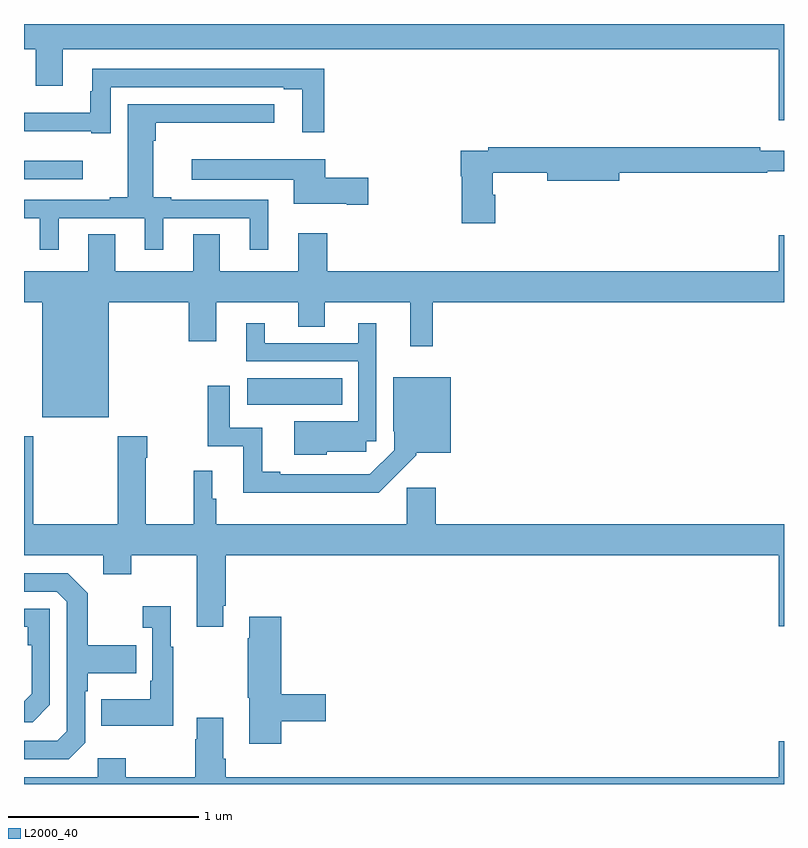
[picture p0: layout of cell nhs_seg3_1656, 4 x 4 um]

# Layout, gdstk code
import gdstk
lib = gdstk.Library(unit=1e-6, precision=1e-09)
def R(c, l, rs):  # rectangles x0, y0, x1, y1
    for r in rs: c.add(gdstk.rectangle(r[:2], r[2:], *l))
def P(c, l, *ps):  # polygons
    for p in ps: c.add(gdstk.Polygon(p, *l))
L2000_40 = (2000, 40)

nhs_seg3_1656 = lib.new_cell('nhs_seg3_1656')
R(nhs_seg3_1656, L2000_40, [(198.174,680.396,198.674,680.536), (197,681.582,197.308,681.679)])
P(nhs_seg3_1656, L2000_40, [(201,682.4),(197,682.4),(197,682.268),(197.063,682.268),(197.063,682.074),(197.203,682.074),(197.203,682.268),(200.972,682.268),(200.972,681.894),(201,681.894)],
  [(197.457,682.068),(198.368,682.068),(198.368,682.056),(198.464,682.056),(198.464,681.831),(198.581,681.831),(198.581,682.164),(197.36,682.164),(197.36,682.046),(197.349,682.046),(197.349,681.934),(197,681.934),(197,681.836),(197.354,681.836),(197.354,681.825),(197.457,681.825)],
  [(197.182,681.378),(197.636,681.378),(197.636,681.213),(197.734,681.213),(197.734,681.378),(198.188,681.378),(198.188,681.213),(198.286,681.213),(198.286,681.474),(197.776,681.474),(197.776,681.487),(197.68,681.487),(197.68,681.785),(197.693,681.785),(197.693,681.881),(198.316,681.881),(198.316,681.978),(197.546,681.978),(197.546,681.487),(197.45,681.487),(197.45,681.474),(197,681.474),(197,681.378),(197.084,681.378),(197.084,681.213),(197.182,681.213)],
  [(199.481,681.501),(199.468,681.501),(199.468,681.616),(199.754,681.616),(199.754,681.574),(200.134,681.574),(200.134,681.616),(200.912,681.616),(200.912,681.624),(201,681.624),(201,681.733),(200.876,681.733),(200.876,681.752),(199.444,681.752),(199.444,681.732),(199.298,681.732),(199.298,681.599),(199.303,681.599),(199.303,681.351),(199.481,681.351)],
  [(198.811,681.59),(198.586,681.59),(198.586,681.688),(197.883,681.688),(197.883,681.581),(198.419,681.581),(198.419,681.455),(198.698,681.455),(198.698,681.448),(198.811,681.448)],
  [(197.446,680.936),(197.866,680.936),(197.866,680.73),(198.013,680.73),(198.013,680.936),(198.443,680.936),(198.443,680.806),(198.583,680.806),(198.583,680.936),(199.034,680.936),(199.034,680.703),(199.151,680.703),(199.151,680.936),(201,680.936),(201,681.289),(200.972,681.289),(200.972,681.1),(198.596,681.1),(198.596,681.298),(198.443,681.298),(198.443,681.1),(198.031,681.1),(198.031,681.293),(197.891,681.293),(197.891,681.1),(197.479,681.1),(197.479,681.293),(197.339,681.293),(197.339,681.1),(197,681.1),(197,680.936),(197.096,680.936),(197.096,680.33),(197.446,680.33)],
  [(198.594,680.15),(198.801,680.15),(198.801,680.205),(198.855,680.205),(198.855,680.824),(198.758,680.824),(198.758,680.721),(198.268,680.721),(198.268,680.824),(198.17,680.824),(198.17,680.625),(198.759,680.625),(198.759,680.308),(198.422,680.308),(198.422,680.132),(198.594,680.132)],
  [(199.064,680.129),(199.064,680.144),(199.246,680.144),(199.246,680.542),(198.944,680.542),(198.944,680.257),(198.948,680.257),(198.948,680.157),(198.82,680.029),(198.719,680.029),(198.719,680.031),(198.349,680.031),(198.349,680.044),(198.253,680.044),(198.253,680.274),(198.084,680.274),(198.084,680.497),(197.968,680.497),(197.968,680.178),(198.155,680.178),(198.155,679.934),(198.667,679.934),(198.667,679.932),(198.866,679.932)],
  [(198.011,679.901),(197.992,679.901),(197.992,680.05),(197.893,680.05),(197.893,679.768),(197.641,679.768),(197.641,680.117),(197.649,680.117),(197.649,680.23),(197.494,680.23),(197.494,679.768),(197.049,679.768),(197.049,680.23),(197,680.23),(197,679.604),(197.417,679.604),(197.417,679.505),(197.565,679.505),(197.565,679.604),(197.909,679.604),(197.909,679.227),(198.049,679.227),(198.049,679.339),(198.062,679.339),(198.062,679.604),(200.972,679.604),(200.972,679.23),(201,679.23),(201,679.768),(199.166,679.768),(199.166,679.959),(199.015,679.959),(199.015,679.768),(198.011,679.768)],
  [(197.322,678.618),(197.322,678.887),(197.335,678.887),(197.335,678.983),(197.591,678.983),(197.591,679.131),(197.335,679.131),(197.335,679.403),(197.229,679.509),(197,679.509),(197,679.413),(197.172,679.413),(197.226,679.359),(197.226,678.678),(197.175,678.627),(197,678.627),(197,678.531),(197.235,678.531)],
  [(197.785,679.123),(197.773,679.123),(197.773,679.336),(197.625,679.336),(197.625,679.223),(197.676,679.223),(197.676,678.943),(197.664,678.943),(197.664,678.847),(197.407,678.847),(197.407,678.707),(197.785,678.707)],
  [(197.136,678.816),(197.136,679.323),(197,679.323),(197,679.227),(197.02,679.227),(197.02,679.13),(197.04,679.13),(197.04,678.876),(197,678.836),(197,678.726),(197.046,678.726)],
  [(198.353,678.73),(198.589,678.73),(198.589,678.872),(198.353,678.872),(198.353,679.279),(198.185,679.279),(198.185,679.166),(198.178,679.166),(198.178,678.855),(198.185,678.855),(198.185,678.612),(198.353,678.612)],
  [(201,678.625),(200.972,678.625),(200.972,678.436),(198.062,678.436),(198.062,678.532),(198.049,678.532),(198.049,678.748),(197.909,678.748),(197.909,678.635),(197.902,678.635),(197.902,678.436),(197.535,678.436),(197.535,678.535),(197.388,678.535),(197.388,678.436),(197,678.436),(197,678.4),(201,678.4)])

lib.write_gds('nhs_seg3_1656.gds')
